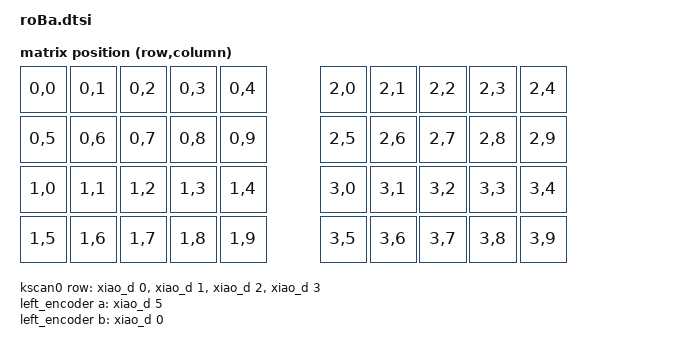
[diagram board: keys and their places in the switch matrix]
#include <dt-bindings/zmk/matrix_transform.h>
#include <physical_layouts.dtsi>

/ {
    chosen {
        zmk,physical-layout = &roba_physical_layout;
    };
    
    roba_physical_layout: roba_physical_layout {
        compatible = "zmk,physical-layout";
        display-name = "Default";
        transform = <&default_transform>;
        kscan = <&kscan0>;

        keys  //                     w   h    x    y     rot    rx    ry
            // 左手
            = <&key_physical_attrs 100 100    0    0       0     0     0>  // Q
            , <&key_physical_attrs 100 100  100    0       0     0     0>  // W
            , <&key_physical_attrs 100 100  200    0       0     0     0>  // E
            , <&key_physical_attrs 100 100  300    0       0     0     0>  // R
            , <&key_physical_attrs 100 100  400    0       0     0     0>  // T
            , <&key_physical_attrs 100 100    0  100       0     0     0>  // A
            , <&key_physical_attrs 100 100  100  100       0     0     0>  // S
            , <&key_physical_attrs 100 100  200  100       0     0     0>  // D
            , <&key_physical_attrs 100 100  300  100       0     0     0>  // F
            , <&key_physical_attrs 100 100  400  100       0     0     0>  // G
            , <&key_physical_attrs 100 100    0  200       0     0     0>  // Z
            , <&key_physical_attrs 100 100  100  200       0     0     0>  // X
            , <&key_physical_attrs 100 100  200  200       0     0     0>  // C
            , <&key_physical_attrs 100 100  300  200       0     0     0>  // V
            , <&key_physical_attrs 100 100  400  200       0     0     0>  // B
            , <&key_physical_attrs 100 100    0  300       0     0     0>  // Ctrl
            , <&key_physical_attrs 100 100  100  300       0     0     0>  // Alt
            , <&key_physical_attrs 100 100  200  300       0     0     0>  // Layer1
            , <&key_physical_attrs 100 100  300  300       0     0     0>  // Space
            , <&key_physical_attrs 100 100  400  300       0     0     0>  // Cmd
            // 右手
            , <&key_physical_attrs 100 100  600    0       0     0     0>  // Y
            , <&key_physical_attrs 100 100  700    0       0     0     0>  // U
            , <&key_physical_attrs 100 100  800    0       0     0     0>  // I
            , <&key_physical_attrs 100 100  900    0       0     0     0>  // O
            , <&key_physical_attrs 100 100 1000    0       0     0     0>  // P
            , <&key_physical_attrs 100 100  600  100       0     0     0>  // H
            , <&key_physical_attrs 100 100  700  100       0     0     0>  // J
            , <&key_physical_attrs 100 100  800  100       0     0     0>  // K
            , <&key_physical_attrs 100 100  900  100       0     0     0>  // L
            , <&key_physical_attrs 100 100 1000  100       0     0     0>  // ;
            , <&key_physical_attrs 100 100  600  200       0     0     0>  // N
            , <&key_physical_attrs 100 100  700  200       0     0     0>  // M
            , <&key_physical_attrs 100 100  800  200       0     0     0>  // ,
            , <&key_physical_attrs 100 100  900  200       0     0     0>  // .
            , <&key_physical_attrs 100 100 1000  200       0     0     0>  // /
            , <&key_physical_attrs 100 100  600  300       0     0     0>  // Cmd
            , <&key_physical_attrs 100 100  700  300       0     0     0>  // Space
            , <&key_physical_attrs 100 100  800  300       0     0     0>  // Layer2
            , <&key_physical_attrs 100 100  900  300       0     0     0>  // Alt
            , <&key_physical_attrs 100 100 1000  300       0     0     0>  // Ctrl
            ;
    };

    default_transform: keymap_transform_0 {
        compatible = "zmk,matrix-transform";
        columns = <10>;
        rows = <4>;               
        map = <
            RC(0,0) RC(0,1) RC(0,2) RC(0,3) RC(0,4)      RC(0,5) RC(0,6) RC(0,7) RC(0,8) RC(0,9)
            RC(1,0) RC(1,1) RC(1,2) RC(1,3) RC(1,4)      RC(1,5) RC(1,6) RC(1,7) RC(1,8) RC(1,9)
            RC(2,0) RC(2,1) RC(2,2) RC(2,3) RC(2,4)      RC(2,5) RC(2,6) RC(2,7) RC(2,8) RC(2,9)
            RC(3,0) RC(3,1) RC(3,2) RC(3,3) RC(3,4)      RC(3,5) RC(3,6) RC(3,7) RC(3,8) RC(3,9)           
        >;
    };
    
    kscan0: kscan {
        compatible = "zmk,kscan-gpio-matrix";
        label = "KSCAN";
        diode-direction = "col2row";
            row-gpios
                = <&xiao_d 0 (GPIO_ACTIVE_HIGH | GPIO_PULL_DOWN)> 
                , <&xiao_d 1 (GPIO_ACTIVE_HIGH | GPIO_PULL_DOWN)> 
                , <&xiao_d 2 (GPIO_ACTIVE_HIGH | GPIO_PULL_DOWN)> 
                , <&xiao_d 3 (GPIO_ACTIVE_HIGH | GPIO_PULL_DOWN)> 			
                ;
    };

    left_encoder: encoder_left {
        compatible = "alps,ec11";
        a-gpios = <&xiao_d 5 (GPIO_ACTIVE_HIGH | GPIO_PULL_UP)>;
        b-gpios = <&xiao_d 0 (GPIO_ACTIVE_HIGH | GPIO_PULL_UP)>;
        steps = <12>;
        status = "disabled";
    };

    right_encoder: encoder_right {
        status = "disabled";
    };

    sensors: sensors {
        compatible = "zmk,keymap-sensors";
        sensors = <&left_encoder &right_encoder>;
        triggers-per-rotation = <10>;
    };
};
